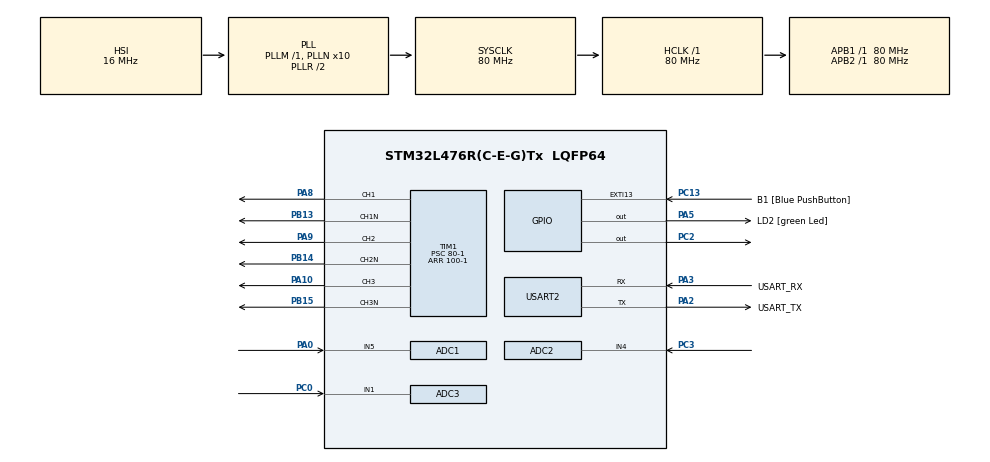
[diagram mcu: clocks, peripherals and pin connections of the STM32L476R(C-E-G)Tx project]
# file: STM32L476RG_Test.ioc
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Mcu.Family=STM32L4
PA2.GPIO_PuPd=GPIO_NOPULL
RCC.CortexFreq_Value=80000000
ADC2.SamplingTime-1\#ChannelRegularConversion=ADC_SAMPLETIME_2CYCLES_5
PH0-OSC_IN\ (PH0).Signal=RCC_OSC_IN
PA3.GPIO_PuPd=GPIO_NOPULL
PA2.GPIO_Speed=GPIO_SPEED_FREQ_VERY_HIGH
PC15-OSC32_OUT\ (PC15).Mode=LSE-External-Oscillator
PC13.GPIO_Label=B1 [Blue PushButton]
PA3.GPIO_Speed=GPIO_SPEED_FREQ_VERY_HIGH
PB13.Signal=TIM1_CH1N
PB15.Signal=TIM1_CH3N
ADC3.Channel-0\#ChannelRegularConversion=ADC_CHANNEL_1
RCC.SYSCLKSource=RCC_SYSCLKSOURCE_PLLCLK
ProjectManager.StackSize=0x400
PB3\ (JTDO-TRACESWO).Signal=SYS_JTDO-SWO
PC14-OSC32_IN\ (PC14).Mode=LSE-External-Oscillator
PA14\ (JTCK-SWCLK).Signal=SYS_JTCK-SWCLK
TIM1.Prescaler=80-1
TIM15.Prescaler=80-1
RCC.HCLKFreq_Value=80000000
RCC.APB2TimFreq_Value=80000000
ADC1.Channel-2\#ChannelRegularConversion=ADC_CHANNEL_5
PC3.Signal=ADCx_IN4
RCC.AHBFreq_Value=80000000
RCC.PREFETCH_ENABLE=1
RCC.HSE_VALUE=8000000
USART2.VirtualMode-Asynchronous=VM_ASYNC
TIM15.Period=100-1
ADC1.Rank-2\#ChannelRegularConversion=1
TIM1.OC2Preload_PWM=ENABLE
PB14.Mode=PWM Generation2 CH2 CH2N
PA5.GPIO_PuPd=GPIO_NOPULL
TIM1.DeadTime=100
PC13.GPIO_PuPd=GPIO_NOPULL
PA8.Signal=S_TIM1_CH1
VP_TIM1_VS_ClockSourceINT.Mode=Internal
PA0.Signal=ADCx_IN5
Mcu.Package=LQFP64
PA2.GPIO_Label=USART_TX
ADC2.Channel-1\#ChannelRegularConversion=ADC_CHANNEL_4
ADC3.Rank-0\#ChannelRegularConversion=1
PA10.Signal=S_TIM1_CH3
ADC3.OffsetNumber-0\#ChannelRegularConversion=ADC_OFFSET_NONE
SH.ADCx_IN1.0=ADC3_IN1,IN1-Single-Ended
RCC.APB1TimFreq_Value=80000000
TIM1.Period=100-1
PB13.Mode=PWM Generation1 CH1 CH1N
PA13\ (JTMS-SWDIO).Signal=SYS_JTMS-SWDIO
PA3.Signal=USART2_RX
PA2.GPIO_Mode=GPIO_MODE_AF_PP
RCC.MSI_VALUE=4000000
RCC.PLLSourceVirtual=RCC_PLLSOURCE_HSI
PA14\ (JTCK-SWCLK).Mode=Serial_Wire
TIM1.CounterMode=TIM_COUNTERMODE_CENTERALIGNED3
PC13.Signal=GPXTI13
PC2.Signal=GPIO_Output
PC15-OSC32_OUT\ (PC15).Signal=RCC_OSC32_OUT
TIM1.Channel-PWM\ Generation1\ CH1\ CH1N=TIM_CHANNEL_1
PA14\ (JTCK-SWCLK).GPIO_Label=TCK
PB3\ (JTDO-TRACESWO).GPIO_Label=SWO
PC0.Signal=ADCx_IN1
ADC1.SamplingTime-2\#ChannelRegularConversion=ADC_SAMPLETIME_2CYCLES_5
PH1-OSC_OUT\ (PH1).Signal=RCC_OSC_OUT
PA3.Mode=Asynchronous
TIM1.Channel-PWM\ Generation2\ CH2\ CH2N=TIM_CHANNEL_2
ADC3.SamplingTime-0\#ChannelRegularConversion=ADC_SAMPLETIME_2CYCLES_5
SH.S_TIM1_CH1.0=TIM1_CH1,PWM Generation1 CH1 CH1N
ProjectManager.TargetToolchain=STM32CubeIDE
PA3.GPIO_Mode=GPIO_MODE_AF_PP
PA9.Signal=S_TIM1_CH2
VP_TIM1_VS_ClockSourceITR.Mode=TriggerSource_ITR0
TIM1.Channel-PWM\ Generation3\ CH3\ CH3N=TIM_CHANNEL_3
RCC.USBFreq_Value=64000000
ADC2.OffsetNumber-1\#ChannelRegularConversion=ADC_OFFSET_NONE
PB14.Signal=TIM1_CH2N
PA5.Signal=GPIO_Output
NVIC.TIM1_BRK_TIM15_IRQn=true\:0\:0\:false\:false\:true\:true\:true
board=NUCLEO-L476RG
RCC.VCOOutputFreq_Value=160000000
PB15.Mode=PWM Generation3 CH3 CH3N
RCC.APB2Freq_Value=80000000
VP_TIM15_VS_ClockSourceITR.Mode=TriggerSource_ITR0
PA5.GPIO_ModeDefaultOutputPP=GPIO_MODE_OUTPUT_PP
PA13\ (JTMS-SWDIO).GPIO_Label=TMS
SH.S_TIM1_CH2.0=TIM1_CH2,PWM Generation2 CH2 CH2N
RCC.ADCFreq_Value=64000000
SH.ADCx_IN4.0=ADC2_IN4,IN4-Single-Ended
ADC1.OffsetNumber-2\#ChannelRegularConversion=ADC_OFFSET_NONE
Mcu.Name=STM32L476R(C-E-G)Tx
PA2.Signal=USART2_TX
PA13\ (JTMS-SWDIO).Mode=Serial_Wire
RCC.SYSCLKFreq_VALUE=80000000
ADC1.master=1
PA5.GPIO_Label=LD2 [green Led]
ADC2.NbrOfConversionFlag=1
PC13.GPIO_ModeDefaultEXTI=GPIO_MODE_IT_FALLING
PC14-OSC32_IN\ (PC14).Signal=RCC_OSC32_IN
ProjectManager.HeapSize=0x200
SH.S_TIM1_CH3.0=TIM1_CH3,PWM Generation3 CH3 CH3N
RCC.HSI_VALUE=16000000
SH.ADCx_IN5.0=ADC1_IN5,IN5-Single-Ended
PA5.GPIO_Speed=GPIO_SPEED_FREQ_LOW
NVIC.PriorityGroup=NVIC_PRIORITYGROUP_4
ADC1.NbrOfConversionFlag=1
RCC.PLLN=10
ADC2.Rank-1\#ChannelRegularConversion=1
PA2.Mode=Asynchronous
RCC.APB1Freq_Value=80000000
ADC3.NbrOfConversionFlag=1
PA3.GPIO_Label=USART_RX

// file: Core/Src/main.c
/* USER CODE BEGIN Header */
/**
  ******************************************************************************
  * @file           : main.c
  * @brief          : Main program body
  ******************************************************************************
  * @attention
  *
  * <h2><center>&copy; Copyright (c) 2020 STMicroelectronics.
  * All rights reserved.</center></h2>
  *
  * This software component is licensed by ST under BSD 3-Clause license,
  * the "License"; You may not use this file except in compliance with the
  * License. You may obtain a copy of the License at:
  *                        opensource.org/licenses/BSD-3-Clause
  *
  ******************************************************************************
  */
/* USER CODE END Header */
//Hello Johnny

#include "main.h"

/* USER CODE BEGIN Includes */
#include "math.h"
#include "VHZ.h"
#include "SVPWM.h"
#include "PID.h"
#include <string.h>
#include <stdio.h>
#include "DEFINES.H"
/* USER CODE END Includes */

ADC_HandleTypeDef hadc1;
ADC_HandleTypeDef hadc2;
ADC_HandleTypeDef hadc3;

TIM_HandleTypeDef htim1;
TIM_HandleTypeDef htim15;

UART_HandleTypeDef huart2;

void SystemClock_Config(void);
static void MX_GPIO_Init(void);
static void MX_TIM1_Init(void);
static void MX_TIM15_Init(void);
static void MX_USART2_UART_Init(void);
static void MX_ADC1_Init(void);
static void MX_ADC2_Init(void);
static void MX_ADC3_Init(void);
/* USER CODE BEGIN PFP */
float adc_voltage_conversion (uint16_t raw_a);
float temperature_sensing (uint16_t raw_a);
float DC_current_sensing (uint16_t v1);
float IGBT_current_sensing (uint16_t raw_v);
/* USER CODE END PFP */

/* USER CODE BEGIN 0 */
VHZPROFILE vhz1;
SVPWM svpwm1;
int OldSector;
float a,b,c = 0;
/* USER CODE END 0 */

int main(void)
{
  /* USER CODE BEGIN 1 */
  SVPWM_Init(&svpwm1, 10000);
  VHZ_Init(&vhz1, 0.001, 0.01, 10, 100);

	uint16_t raw_voltage;
	uint16_t current_raw;	// voltage difference from INA
	uint16_t raw_temperature;
	char msg[10];
	float voltage;
	float temperature;
	float DC_current_M;
	float DC_current_L;
	float current_a;
	float current_b;
	float current_c;

  /* USER CODE END 1 */

  /* MCU Configuration--------------------------------------------------------*/

  /* Reset of all peripherals, Initializes the Flash interface and the Systick. */
  HAL_Init();

  /* Configure the system clock */
  SystemClock_Config();

  /* Initialize all configured peripherals */
  MX_GPIO_Init();
  MX_TIM1_Init();
  MX_TIM15_Init();
  MX_USART2_UART_Init();
  MX_ADC1_Init();
  MX_ADC2_Init();
  MX_ADC3_Init();
  /* USER CODE BEGIN 2 */
  HAL_TIM_PWM_Start(&htim1, TIM_CHANNEL_1);
  HAL_TIMEx_PWMN_Start(&htim1, TIM_CHANNEL_1);
  HAL_TIM_PWM_Start(&htim1, TIM_CHANNEL_2);
  HAL_TIMEx_PWMN_Start(&htim1, TIM_CHANNEL_2);
  HAL_TIM_PWM_Start(&htim1, TIM_CHANNEL_3);
  HAL_TIMEx_PWMN_Start(&htim1, TIM_CHANNEL_3);
  HAL_TIM_Base_Start_IT(&htim15);

  // Chip select pin should default high
  HAL_GPIO_WritePin(GPIOB, GPIO_PIN_2, GPIO_PIN_SET);
  /* USER CODE END 2 */

  /* Infinite loop */
  /* USER CODE BEGIN WHILE */
  while (1)
  {
	  HAL_ADC_Start(&hadc1);
	  HAL_ADC_PollForConversion(&hadc1, HAL_MAX_DELAY);
	  raw_voltage = HAL_ADC_GetValue(&hadc1);
	  voltage = adc_voltage_conversion (raw_voltage) / SCALING_FACTOR;

	  HAL_Delay (100);
    // TOOD: Currently only one phase has a current sense, need to add two more!
	  HAL_ADC_Start (&hadc2);
	  HAL_ADC_PollForConversion(&hadc2, HAL_MAX_DELAY);
	  current_raw = HAL_ADC_GetValue(&hadc2);
	  DC_current_M = DC_current_sensing (current_raw);	//current 1 is the actual current we want not current2

	  HAL_Delay (100);

	  HAL_ADC_Start (&hadc3);
	  HAL_ADC_PollForConversion(&hadc3, HAL_MAX_DELAY);
	  raw_temperature = HAL_ADC_GetValue(&hadc3);
	  temperature = temperature_sensing (raw_temperature);

    //Fault management
    //Fault_Mgmt(DC_current_M, voltage, temperature);

	  // Send out buffer (temperature or error message)

	  HAL_Delay (100);

    /* USER CODE END WHILE */

  }
}

//TODO: Look into shutdown and what connections we need to terminate

void SystemClock_Config(void)
{
  RCC_OscInitTypeDef RCC_OscInitStruct = {0};
  RCC_ClkInitTypeDef RCC_ClkInitStruct = {0};
  RCC_PeriphCLKInitTypeDef PeriphClkInit = {0};

  /** Initializes the CPU, AHB and APB busses clocks
  */
  RCC_OscInitStruct.OscillatorType = RCC_OSCILLATORTYPE_HSI;
  RCC_OscInitStruct.HSIState = RCC_HSI_ON;
  RCC_OscInitStruct.HSICalibrationValue = RCC_HSICALIBRATION_DEFAULT;
  RCC_OscInitStruct.PLL.PLLState = RCC_PLL_ON;
  RCC_OscInitStruct.PLL.PLLSource = RCC_PLLSOURCE_HSI;
  RCC_OscInitStruct.PLL.PLLM = 1;
  RCC_OscInitStruct.PLL.PLLN = 10;
  RCC_OscInitStruct.PLL.PLLP = RCC_PLLP_DIV7;
  RCC_OscInitStruct.PLL.PLLQ = RCC_PLLQ_DIV2;
  RCC_OscInitStruct.PLL.PLLR = RCC_PLLR_DIV2;
  if (HAL_RCC_OscConfig(&RCC_OscInitStruct) != HAL_OK)
  {
    Error_Handler();
  }
  /** Initializes the CPU, AHB and APB busses clocks
  */
  RCC_ClkInitStruct.ClockType = RCC_CLOCKTYPE_HCLK|RCC_CLOCKTYPE_SYSCLK
                              |RCC_CLOCKTYPE_PCLK1|RCC_CLOCKTYPE_PCLK2;
  RCC_ClkInitStruct.SYSCLKSource = RCC_SYSCLKSOURCE_PLLCLK;
  RCC_ClkInitStruct.AHBCLKDivider = RCC_SYSCLK_DIV1;
  RCC_ClkInitStruct.APB1CLKDivider = RCC_HCLK_DIV1;
  RCC_ClkInitStruct.APB2CLKDivider = RCC_HCLK_DIV1;

  if (HAL_RCC_ClockConfig(&RCC_ClkInitStruct, FLASH_LATENCY_4) != HAL_OK)
  {
    Error_Handler();
  }
  PeriphClkInit.PeriphClockSelection = RCC_PERIPHCLK_USART2|RCC_PERIPHCLK_ADC;
  PeriphClkInit.Usart2ClockSelection = RCC_USART2CLKSOURCE_PCLK1;
  PeriphClkInit.AdcClockSelection = RCC_ADCCLKSOURCE_PLLSAI1;
  PeriphClkInit.PLLSAI1.PLLSAI1Source = RCC_PLLSOURCE_HSI;
  PeriphClkInit.PLLSAI1.PLLSAI1M = 1;
  PeriphClkInit.PLLSAI1.PLLSAI1N = 8;
  PeriphClkInit.PLLSAI1.PLLSAI1P = RCC_PLLP_DIV7;
  PeriphClkInit.PLLSAI1.PLLSAI1Q = RCC_PLLQ_DIV2;
  PeriphClkInit.PLLSAI1.PLLSAI1R = RCC_PLLR_DIV2;
  PeriphClkInit.PLLSAI1.PLLSAI1ClockOut = RCC_PLLSAI1_ADC1CLK;
  if (HAL_RCCEx_PeriphCLKConfig(&PeriphClkInit) != HAL_OK)
  {
    Error_Handler();
  }
  /** Configure the main internal regulator output voltage
  */
  if (HAL_PWREx_ControlVoltageScaling(PWR_REGULATOR_VOLTAGE_SCALE1) != HAL_OK)
  {
    Error_Handler();
  }
}

static void MX_ADC1_Init(void)
{

  ADC_MultiModeTypeDef multimode = {0};
  ADC_ChannelConfTypeDef sConfig = {0};

  /** Common config
  */
  hadc1.Instance = ADC1;
  hadc1.Init.ClockPrescaler = ADC_CLOCK_ASYNC_DIV1;
  hadc1.Init.Resolution = ADC_RESOLUTION_12B;
  hadc1.Init.DataAlign = ADC_DATAALIGN_RIGHT;
  hadc1.Init.ScanConvMode = ADC_SCAN_DISABLE;
  hadc1.Init.EOCSelection = ADC_EOC_SINGLE_CONV;
  hadc1.Init.LowPowerAutoWait = DISABLE;
  hadc1.Init.ContinuousConvMode = DISABLE;
  hadc1.Init.NbrOfConversion = 1;
  hadc1.Init.DiscontinuousConvMode = DISABLE;
  hadc1.Init.NbrOfDiscConversion = 1;
  hadc1.Init.ExternalTrigConv = ADC_SOFTWARE_START;
  hadc1.Init.ExternalTrigConvEdge = ADC_EXTERNALTRIGCONVEDGE_NONE;
  hadc1.Init.DMAContinuousRequests = DISABLE;
  hadc1.Init.Overrun = ADC_OVR_DATA_PRESERVED;
  hadc1.Init.OversamplingMode = DISABLE;
  if (HAL_ADC_Init(&hadc1) != HAL_OK)
  {
    Error_Handler();
  }
  /** Configure the ADC multi-mode
  */
  multimode.Mode = ADC_MODE_INDEPENDENT;
  if (HAL_ADCEx_MultiModeConfigChannel(&hadc1, &multimode) != HAL_OK)
  {
    Error_Handler();
  }
  /** Configure Regular Channel
  */
  sConfig.Channel = ADC_CHANNEL_5;
  sConfig.Rank = ADC_REGULAR_RANK_1;
  sConfig.SamplingTime = ADC_SAMPLETIME_2CYCLES_5;
  sConfig.SingleDiff = ADC_SINGLE_ENDED;
  sConfig.OffsetNumber = ADC_OFFSET_NONE;
  sConfig.Offset = 0;
  if (HAL_ADC_ConfigChannel(&hadc1, &sConfig) != HAL_OK)
  {
    Error_Handler();
  }

}

static void MX_ADC2_Init(void)
{

  ADC_ChannelConfTypeDef sConfig = {0};

  /** Common config
  */
  hadc2.Instance = ADC2;
  hadc2.Init.ClockPrescaler = ADC_CLOCK_ASYNC_DIV1;
  hadc2.Init.Resolution = ADC_RESOLUTION_12B;
  hadc2.Init.DataAlign = ADC_DATAALIGN_RIGHT;
  hadc2.Init.ScanConvMode = ADC_SCAN_DISABLE;
  hadc2.Init.EOCSelection = ADC_EOC_SINGLE_CONV;
  hadc2.Init.LowPowerAutoWait = DISABLE;
  hadc2.Init.ContinuousConvMode = DISABLE;
  hadc2.Init.NbrOfConversion = 1;
  hadc2.Init.DiscontinuousConvMode = DISABLE;
  hadc2.Init.NbrOfDiscConversion = 1;
  hadc2.Init.ExternalTrigConv = ADC_SOFTWARE_START;
  hadc2.Init.ExternalTrigConvEdge = ADC_EXTERNALTRIGCONVEDGE_NONE;
  hadc2.Init.DMAContinuousRequests = DISABLE;
  hadc2.Init.Overrun = ADC_OVR_DATA_PRESERVED;
  hadc2.Init.OversamplingMode = DISABLE;
  if (HAL_ADC_Init(&hadc2) != HAL_OK)
  {
    Error_Handler();
  }
  /** Configure Regular Channel
  */
  sConfig.Channel = ADC_CHANNEL_4;
  sConfig.Rank = ADC_REGULAR_RANK_1;
  sConfig.SamplingTime = ADC_SAMPLETIME_2CYCLES_5;
  sConfig.SingleDiff = ADC_SINGLE_ENDED;
  sConfig.OffsetNumber = ADC_OFFSET_NONE;
  sConfig.Offset = 0;
  if (HAL_ADC_ConfigChannel(&hadc2, &sConfig) != HAL_OK)
  {
    Error_Handler();
  }

}

static void MX_ADC3_Init(void)
{

  ADC_ChannelConfTypeDef sConfig = {0};

  /** Common config
  */
  hadc3.Instance = ADC3;
  hadc3.Init.ClockPrescaler = ADC_CLOCK_ASYNC_DIV1;
  hadc3.Init.Resolution = ADC_RESOLUTION_12B;
  hadc3.Init.DataAlign = ADC_DATAALIGN_RIGHT;
  hadc3.Init.ScanConvMode = ADC_SCAN_DISABLE;
  hadc3.Init.EOCSelection = ADC_EOC_SINGLE_CONV;
  hadc3.Init.LowPowerAutoWait = DISABLE;
  hadc3.Init.ContinuousConvMode = DISABLE;
  hadc3.Init.NbrOfConversion = 1;
  hadc3.Init.DiscontinuousConvMode = DISABLE;
  hadc3.Init.NbrOfDiscConversion = 1;
  hadc3.Init.ExternalTrigConv = ADC_SOFTWARE_START;
  hadc3.Init.ExternalTrigConvEdge = ADC_EXTERNALTRIGCONVEDGE_NONE;
  hadc3.Init.DMAContinuousRequests = DISABLE;
  hadc3.Init.Overrun = ADC_OVR_DATA_PRESERVED;
  hadc3.Init.OversamplingMode = DISABLE;
  if (HAL_ADC_Init(&hadc3) != HAL_OK)
  {
    Error_Handler();
  }
  /** Configure Regular Channel
  */
  sConfig.Channel = ADC_CHANNEL_1;
  sConfig.Rank = ADC_REGULAR_RANK_1;
  sConfig.SamplingTime = ADC_SAMPLETIME_2CYCLES_5;
  sConfig.SingleDiff = ADC_SINGLE_ENDED;
  sConfig.OffsetNumber = ADC_OFFSET_NONE;
  sConfig.Offset = 0;
  if (HAL_ADC_ConfigChannel(&hadc3, &sConfig) != HAL_OK)
  {
    Error_Handler();
  }

}

static void MX_TIM1_Init(void)
{

  TIM_ClockConfigTypeDef sClockSourceConfig = {0};
  TIM_SlaveConfigTypeDef sSlaveConfig = {0};
  TIM_MasterConfigTypeDef sMasterConfig = {0};
  TIM_OC_InitTypeDef sConfigOC = {0};
  TIM_BreakDeadTimeConfigTypeDef sBreakDeadTimeConfig = {0};

  htim1.Instance = TIM1;
  htim1.Init.Prescaler = 80-1;
  htim1.Init.CounterMode = TIM_COUNTERMODE_CENTERALIGNED3;
  htim1.Init.Period = 100-1;
  htim1.Init.ClockDivision = TIM_CLOCKDIVISION_DIV1;
  htim1.Init.RepetitionCounter = 0;
  htim1.Init.AutoReloadPreload = TIM_AUTORELOAD_PRELOAD_DISABLE;
  if (HAL_TIM_Base_Init(&htim1) != HAL_OK)
  {
    Error_Handler();
  }
  sClockSourceConfig.ClockSource = TIM_CLOCKSOURCE_INTERNAL;
  if (HAL_TIM_ConfigClockSource(&htim1, &sClockSourceConfig) != HAL_OK)
  {
    Error_Handler();
  }
  if (HAL_TIM_PWM_Init(&htim1) != HAL_OK)
  {
    Error_Handler();
  }
  sSlaveConfig.SlaveMode = TIM_SLAVEMODE_DISABLE;
  sSlaveConfig.InputTrigger = TIM_TS_ITR0;
  if (HAL_TIM_SlaveConfigSynchro(&htim1, &sSlaveConfig) != HAL_OK)
  {
    Error_Handler();
  }
  sMasterConfig.MasterOutputTrigger = TIM_TRGO_RESET;
  sMasterConfig.MasterOutputTrigger2 = TIM_TRGO2_RESET;
  sMasterConfig.MasterSlaveMode = TIM_MASTERSLAVEMODE_DISABLE;
  if (HAL_TIMEx_MasterConfigSynchronization(&htim1, &sMasterConfig) != HAL_OK)
  {
    Error_Handler();
  }
  sConfigOC.OCMode = TIM_OCMODE_PWM1;
  sConfigOC.Pulse = 0;
  sConfigOC.OCPolarity = TIM_OCPOLARITY_HIGH;
  sConfigOC.OCNPolarity = TIM_OCNPOLARITY_HIGH;
  sConfigOC.OCFastMode = TIM_OCFAST_DISABLE;
  sConfigOC.OCIdleState = TIM_OCIDLESTATE_RESET;
  sConfigOC.OCNIdleState = TIM_OCNIDLESTATE_RESET;
  if (HAL_TIM_PWM_ConfigChannel(&htim1, &sConfigOC, TIM_CHANNEL_1) != HAL_OK)
  {
    Error_Handler();
  }
  if (HAL_TIM_PWM_ConfigChannel(&htim1, &sConfigOC, TIM_CHANNEL_2) != HAL_OK)
  {
    Error_Handler();
  }
  if (HAL_TIM_PWM_ConfigChannel(&htim1, &sConfigOC, TIM_CHANNEL_3) != HAL_OK)
  {
    Error_Handler();
  }
  sBreakDeadTimeConfig.OffStateRunMode = TIM_OSSR_DISABLE;
  sBreakDeadTimeConfig.OffStateIDLEMode = TIM_OSSI_DISABLE;
  sBreakDeadTimeConfig.LockLevel = TIM_LOCKLEVEL_OFF;
  sBreakDeadTimeConfig.DeadTime = 100;
  sBreakDeadTimeConfig.BreakState = TIM_BREAK_DISABLE;
  sBreakDeadTimeConfig.BreakPolarity = TIM_BREAKPOLARITY_HIGH;
  sBreakDeadTimeConfig.BreakFilter = 0;
  sBreakDeadTimeConfig.Break2State = TIM_BREAK2_DISABLE;
  sBreakDeadTimeConfig.Break2Polarity = TIM_BREAK2POLARITY_HIGH;
  sBreakDeadTimeConfig.Break2Filter = 0;
  sBreakDeadTimeConfig.AutomaticOutput = TIM_AUTOMATICOUTPUT_DISABLE;
  if (HAL_TIMEx_ConfigBreakDeadTime(&htim1, &sBreakDeadTimeConfig) != HAL_OK)
  {
    Error_Handler();
  }
  HAL_TIM_MspPostInit(&htim1);

}

static void MX_TIM15_Init(void)
{

  TIM_SlaveConfigTypeDef sSlaveConfig = {0};
  TIM_MasterConfigTypeDef sMasterConfig = {0};

  htim15.Instance = TIM15;
  htim15.Init.Prescaler = 80-1;
  htim15.Init.CounterMode = TIM_COUNTERMODE_UP;
  htim15.Init.Period = 100-1;
  htim15.Init.ClockDivision = TIM_CLOCKDIVISION_DIV1;
  htim15.Init.RepetitionCounter = 0;
  htim15.Init.AutoReloadPreload = TIM_AUTORELOAD_PRELOAD_DISABLE;
  if (HAL_TIM_Base_Init(&htim15) != HAL_OK)
  {
    Error_Handler();
  }
  sSlaveConfig.SlaveMode = TIM_SLAVEMODE_DISABLE;
  sSlaveConfig.InputTrigger = TIM_TS_ITR0;
  if (HAL_TIM_SlaveConfigSynchro(&htim15, &sSlaveConfig) != HAL_OK)
  {
    Error_Handler();
  }
  sMasterConfig.MasterOutputTrigger = TIM_TRGO_RESET;
  sMasterConfig.MasterSlaveMode = TIM_MASTERSLAVEMODE_DISABLE;
  if (HAL_TIMEx_MasterConfigSynchronization(&htim15, &sMasterConfig) != HAL_OK)
  {
    Error_Handler();
  }

}

static void MX_USART2_UART_Init(void)
{

  huart2.Instance = USART2;
  huart2.Init.BaudRate = 115200;
  huart2.Init.WordLength = UART_WORDLENGTH_8B;
  huart2.Init.StopBits = UART_STOPBITS_1;
  huart2.Init.Parity = UART_PARITY_NONE;
  huart2.Init.Mode = UART_MODE_TX_RX;
  huart2.Init.HwFlowCtl = UART_HWCONTROL_NONE;
  huart2.Init.OverSampling = UART_OVERSAMPLING_16;
  huart2.Init.OneBitSampling = UART_ONE_BIT_SAMPLE_DISABLE;
  huart2.AdvancedInit.AdvFeatureInit = UART_ADVFEATURE_NO_INIT;
  if (HAL_UART_Init(&huart2) != HAL_OK)
  {
    Error_Handler();
  }

}

static void MX_GPIO_Init(void)
{
  GPIO_InitTypeDef GPIO_InitStruct = {0};

  /* GPIO Ports Clock Enable */
  __HAL_RCC_GPIOC_CLK_ENABLE();
  __HAL_RCC_GPIOH_CLK_ENABLE();
  __HAL_RCC_GPIOA_CLK_ENABLE();
  __HAL_RCC_GPIOB_CLK_ENABLE();

  /*Configure GPIO pin Output Level */
  HAL_GPIO_WritePin(GPIOC, GPIO_PIN_2, GPIO_PIN_RESET);

  /*Configure GPIO pin Output Level */
  HAL_GPIO_WritePin(LD2_GPIO_Port, LD2_Pin, GPIO_PIN_RESET);

  /*Configure GPIO pin : B1_Pin */
  GPIO_InitStruct.Pin = B1_Pin;
  GPIO_InitStruct.Mode = GPIO_MODE_IT_FALLING;
  GPIO_InitStruct.Pull = GPIO_NOPULL;
  HAL_GPIO_Init(B1_GPIO_Port, &GPIO_InitStruct);

  /*Configure GPIO pin : PC2 */
  GPIO_InitStruct.Pin = GPIO_PIN_2;
  GPIO_InitStruct.Mode = GPIO_MODE_OUTPUT_PP;
  GPIO_InitStruct.Pull = GPIO_NOPULL;
  GPIO_InitStruct.Speed = GPIO_SPEED_FREQ_LOW;
  HAL_GPIO_Init(GPIOC, &GPIO_InitStruct);

  /*Configure GPIO pin : LD2_Pin */
  GPIO_InitStruct.Pin = LD2_Pin;
  GPIO_InitStruct.Mode = GPIO_MODE_OUTPUT_PP;
  GPIO_InitStruct.Pull = GPIO_NOPULL;
  GPIO_InitStruct.Speed = GPIO_SPEED_FREQ_LOW;
  HAL_GPIO_Init(LD2_GPIO_Port, &GPIO_InitStruct);

}

/* USER CODE BEGIN 4 */
void Fault_Mgmt(uint16_t current1, uint16_t current2, uint16_t current3, uint16_t voltage, uint16_t temperature ){
  if((current1 && current2 && current3) > MOTOR_CURRENT){
    //SHUTDOWN
  }
  if(voltage > MOTOR_VOLTAGE){
    //SHUTDOWN
  }

  if(temperature > MOTOR_TEMP_MAX){
    //SHUTDOWN
  }
}

void HAL_TIM_PeriodElapsedCallback(TIM_HandleTypeDef *htim) {
	if(a==1000){
		HAL_GPIO_WritePin(LD2_GPIO_Port, LD2_Pin, GPIO_PIN_SET);
	}
	OldSector = svpwm1.SectorPointer;
	VHZ_Update(&vhz1);
	SVPWM_Update(&svpwm1, &vhz1, &htim1);
	if(a==1000){
		HAL_GPIO_WritePin(LD2_GPIO_Port, LD2_Pin, GPIO_PIN_RESET);
	}
	a = a+1;
}

float adc_voltage_conversion (uint16_t raw_a)
{
	return (float) (raw_a / ADC_VOLTAGE_CONVERSION);
}

float temperature_sensing (uint16_t raw_a)
{
	float thermistor = adc_voltage_conversion (raw_a); //gets the voltage
	thermistor = (float) (THERMISTOR_RESISTANCE * raw_a / (INPUT_VOLTAGE - raw_a)); //calculates therm resistance
	return (float) ( pow((1 / ROOM_TEMP) + 1 / THERMISTOR_BETA * (log(thermistor / THERMISTOR_RESISTANCE)),-1) -273.15);

}
float DC_current_sensing (uint16_t raw_v)
{
	float voltage_difference = adc_voltage_conversion (raw_v)/GAIN;
	return (float) voltage_difference / DC_RESISTOR;
}
float IGBT_current_sensing (uint16_t raw_v)
{
	float voltage_difference = adc_voltage_conversion (raw_v)/GAIN_IGBT;
	return (float) voltage_difference / I_RESISTOR;
}
/* USER CODE END 4 */

void Error_Handler(void)
{
}

/************************ (C) COPYRIGHT STMicroelectronics *****END OF FILE****/
